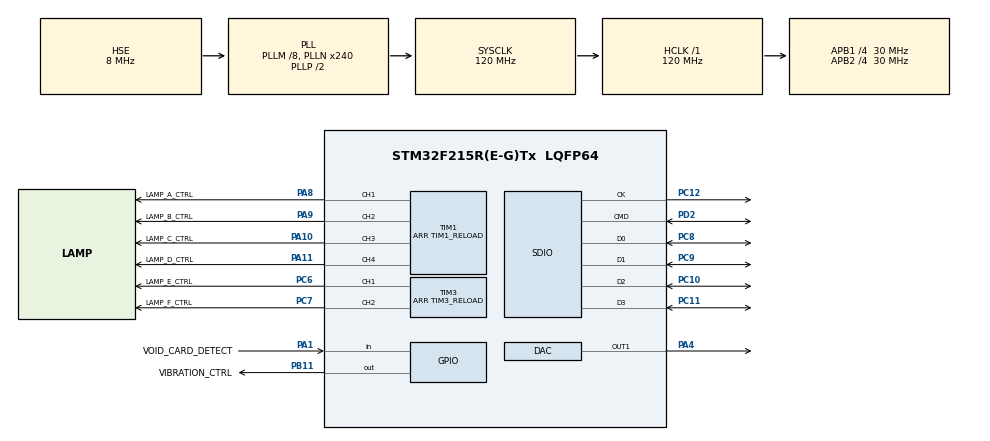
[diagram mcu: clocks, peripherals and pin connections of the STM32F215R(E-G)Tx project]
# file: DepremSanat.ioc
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DAC.DAC_Trigger=DAC_TRIGGER_T6_TRGO
Dma.DAC1.0.Direction=DMA_MEMORY_TO_PERIPH
Dma.DAC1.0.FIFOMode=DMA_FIFOMODE_DISABLE
Dma.DAC1.0.Instance=DMA1_Stream5
Dma.DAC1.0.MemDataAlignment=DMA_MDATAALIGN_HALFWORD
Dma.DAC1.0.MemInc=DMA_MINC_ENABLE
Dma.DAC1.0.Mode=DMA_CIRCULAR
Dma.DAC1.0.PeriphDataAlignment=DMA_PDATAALIGN_HALFWORD
Dma.DAC1.0.PeriphInc=DMA_PINC_DISABLE
Dma.DAC1.0.Priority=DMA_PRIORITY_VERY_HIGH
Dma.Request0=DAC1
FATFS.BSP.number=1
FATFS._FS_LOCK=4
FATFS._MAX_SS=4096
FATFS0.BSP.STBoard=false
FATFS0.BSP.api=Unknown
FATFS0.BSP.i2caddr=0
FATFS0.BSP.instance=PA1
FATFS0.BSP.ip=GPIO
FATFS0.BSP.mode=Input
FATFS0.BSP.name=Detect_SDIO
FATFS0.BSP.solution=PA1
Mcu.Family=STM32F2
Mcu.Name=STM32F215R(E-G)Tx
Mcu.Package=LQFP64
Mcu.UserConstants=POWER_ELEMENTS_SAMPLING_FREQ,64;TIM6_RELOAD,(((TIM6_CLOCK_FREQ/(TIM6_PRESCALER+1))/AUDIO_SAMPLING_FREQ)-1);TIM6_CLOCK_FREQ,60000000;AUDIO_SAMPLING_FREQ,4096;TIM1_RELOAD,(((TIM1_CLOCK_FREQ/(TIM1_PRESCALER+1))/POWER_ELEMENTS_SAMPLING_FREQ)-1);TIM6_PRESCALER,0;TIM1_CLOCK_FREQ,60000000;TIM1_PRESCALER,59;TIM3_CLOCK_FREQ,60000000;TIM3_RELOAD,(((TIM3_CLOCK_FREQ/(TIM3_PRESCALER+1))/POWER_ELEMENTS_SAMPLING_FREQ)-1);TIM3_PRESCALER,59
NVIC.DMA1_Stream5_IRQn=true\:0\:0\:false\:false\:true\:false\:true
NVIC.PriorityGroup=NVIC_PRIORITYGROUP_4
NVIC.SDIO_IRQn=true\:0\:0\:false\:false\:true\:true\:true
NVIC.TIM1_UP_TIM10_IRQn=true\:0\:0\:false\:false\:true\:true\:true
NVIC.TIM6_DAC_IRQn=true\:0\:0\:false\:false\:true\:true\:true
PA1.GPIO_Label=VOID_CARD_DETECT
PA1.GPIO_PuPd=GPIO_PULLDOWN
PA1.Signal=GPIO_Input
PA10.GPIO_Label=LAMP_C_CTRL
PA10.GPIO_ModeDefaultPP=GPIO_MODE_AF_OD
PA10.Signal=S_TIM1_CH3
PA11.GPIO_Label=LAMP_D_CTRL
PA11.GPIO_ModeDefaultPP=GPIO_MODE_AF_OD
PA11.Signal=S_TIM1_CH4
PA13.Mode=Serial_Wire
PA13.Signal=SYS_JTMS-SWDIO
PA14.Mode=Serial_Wire
PA14.Signal=SYS_JTCK-SWCLK
PA4.Signal=COMP_DAC1_group
PA8.GPIO_Label=LAMP_A_CTRL
PA8.GPIO_ModeDefaultPP=GPIO_MODE_AF_OD
PA8.Signal=S_TIM1_CH1
PA9.GPIO_Label=LAMP_B_CTRL
PA9.GPIO_ModeDefaultPP=GPIO_MODE_AF_OD
PA9.Signal=S_TIM1_CH2
PB11.GPIO_Label=VIBRATION_CTRL
PB11.Signal=GPIO_Output
PC10.Mode=SD_4_bits_Wide_bus
PC10.Signal=SDIO_D2
PC11.Mode=SD_4_bits_Wide_bus
PC11.Signal=SDIO_D3
PC12.Mode=SD_4_bits_Wide_bus
PC12.Signal=SDIO_CK
PC6.GPIO_Label=LAMP_E_CTRL
PC6.GPIO_ModeDefaultPP=GPIO_MODE_AF_OD
PC6.Signal=S_TIM3_CH1
PC7.GPIO_Label=LAMP_F_CTRL
PC7.GPIO_ModeDefaultPP=GPIO_MODE_AF_OD
PC7.Signal=S_TIM3_CH2
PC8.Mode=SD_4_bits_Wide_bus
PC8.Signal=SDIO_D0
PC9.Mode=SD_4_bits_Wide_bus
PC9.Signal=SDIO_D1
PD2.Mode=SD_4_bits_Wide_bus
PD2.Signal=SDIO_CMD
PH0-OSC_IN.Mode=HSE-External-Oscillator
PH0-OSC_IN.Signal=RCC_OSC_IN
PH1-OSC_OUT.Mode=HSE-External-Oscillator
PH1-OSC_OUT.Signal=RCC_OSC_OUT
ProjectManager.HeapSize=0x2000
ProjectManager.StackSize=0x4000
ProjectManager.TargetToolchain=Makefile
RCC.48MHZClocksFreq_Value=48000000
RCC.AHBFreq_Value=120000000
RCC.APB1CLKDivider=RCC_HCLK_DIV4
RCC.APB1Freq_Value=30000000
RCC.APB1TimFreq_Value=60000000
RCC.APB2CLKDivider=RCC_HCLK_DIV4
RCC.APB2Freq_Value=30000000
RCC.APB2TimFreq_Value=60000000
RCC.CortexFreq_Value=120000000
RCC.HCLKFreq_Value=120000000
RCC.HSE_VALUE=8000000
RCC.HSI_VALUE=16000000
RCC.LSE_VALUE=32768
RCC.PLLM=8
RCC.PLLN=240
RCC.PLLQ=5
RCC.PLLSourceVirtual=RCC_PLLSOURCE_HSE
RCC.SYSCLKFreq_VALUE=120000000
RCC.SYSCLKSource=RCC_SYSCLKSOURCE_PLLCLK
RCC.VCOOutputFreq_Value=240000000
SDIO.ClockDiv=3
SH.COMP_DAC1_group.0=DAC_OUT1,DAC_OUT1
SH.S_TIM1_CH1.0=TIM1_CH1,PWM Generation1 CH1
SH.S_TIM1_CH2.0=TIM1_CH2,PWM Generation2 CH2
SH.S_TIM1_CH3.0=TIM1_CH3,PWM Generation3 CH3
SH.S_TIM1_CH4.0=TIM1_CH4,PWM Generation4 CH4
SH.S_TIM3_CH1.0=TIM3_CH1,PWM Generation1 CH1
SH.S_TIM3_CH2.0=TIM3_CH2,PWM Generation2 CH2
TIM1.Channel-PWM\ Generation1\ CH1=TIM_CHANNEL_1
TIM1.Channel-PWM\ Generation2\ CH2=TIM_CHANNEL_2
TIM1.Channel-PWM\ Generation3\ CH3=TIM_CHANNEL_3
TIM1.Channel-PWM\ Generation4\ CH4=TIM_CHANNEL_4
TIM1.Period=TIM1_RELOAD
TIM1.Prescaler=TIM1_PRESCALER
TIM1.Pulse-PWM\ Generation3\ CH3=1
TIM1.Pulse-PWM\ Generation4\ CH4=1
TIM1.TIM_MasterOutputTrigger=TIM_TRGO_ENABLE
TIM3.Channel-PWM\ Generation1\ CH1=TIM_CHANNEL_1
TIM3.Channel-PWM\ Generation2\ CH2=TIM_CHANNEL_2
TIM3.Period=TIM3_RELOAD
TIM3.Prescaler=TIM3_PRESCALER
TIM3.Pulse-PWM\ Generation1\ CH1=1
TIM3.Pulse-PWM\ Generation2\ CH2=1
TIM6.Period=TIM6_RELOAD
TIM6.Prescaler=TIM6_PRESCALER
TIM6.TIM_MasterOutputTrigger=TIM_TRGO_UPDATE
VP_FATFS_VS_SDIO.Mode=SDIO
VP_TIM1_VS_ClockSourceINT.Mode=Internal
VP_TIM3_VS_ClockSourceINT.Mode=Internal
VP_TIM3_VS_ClockSourceITR.Mode=TriggerSource_ITR0
VP_TIM3_VS_ControllerModeGated.Mode=Gated Mode
VP_TIM6_VS_ClockSourceINT.Mode=Enable_Timer
board=custom

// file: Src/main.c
/* USER CODE BEGIN Header */
/**
  ******************************************************************************
  * @file           : main.c
  * @brief          : Main program body
  ******************************************************************************
  * @attention
  *
  * <h2><center>&copy; Copyright (c) 2021 STMicroelectronics.
  * All rights reserved.</center></h2>
  *
  * This software component is licensed by ST under Ultimate Liberty license
  * SLA0044, the "License"; You may not use this file except in compliance with
  * the License. You may obtain a copy of the License at:
  *                             www.st.com/SLA0044
  *
  ******************************************************************************
  */
/* USER CODE END Header */
#include "main.h"
#include "fatfs.h"

/* USER CODE BEGIN Includes */
#include "global.h"
/* USER CODE END Includes */

/* USER CODE BEGIN PD */
#define AUDIO_CACHE_SIZE 4096
#define POWER_CTRL_CACHE_SIZE 512
#define POWER_CTRL_CHANNELS 8
/* USER CODE END PD */

DAC_HandleTypeDef hdac;
DMA_HandleTypeDef hdma_dac1;

SD_HandleTypeDef hsd;

TIM_HandleTypeDef htim1;
TIM_HandleTypeDef htim3;
TIM_HandleTypeDef htim6;

/* USER CODE BEGIN PV */
static FATFS fatFsObj;
static FIL audioFile;
static FIL powerCtrlFile;

uint8_t AudioDoubleBuffer[AUDIO_CACHE_SIZE * 2];
uint8_t PowerCtrlDoubleBuffer[POWER_CTRL_CACHE_SIZE * 2];

volatile Bool_t ToggleAudioCache = 0;
volatile uint8_t AudioCacheIdx = 0;
volatile Bool_t TogglePowerCtrlCache = 0;
volatile uint8_t PowerCtrlCacheIdx = 0;
volatile uint16_t PowerCtrlTransferCnt = 0;
/* USER CODE END PV */

void SystemClock_Config(void);
static void MX_GPIO_Init(void);
static void MX_DAC_Init(void);
static void MX_SDIO_SD_Init(void);
static void MX_TIM1_Init(void);
static void MX_DMA_Init(void);
static void MX_TIM6_Init(void);
static void MX_TIM3_Init(void);

int main(void)
{

  /* MCU Configuration--------------------------------------------------------*/

  /* Reset of all peripherals, Initializes the Flash interface and the Systick. */
  HAL_Init();

  /* Configure the system clock */
  SystemClock_Config();

  /* Initialize all configured peripherals */
  MX_GPIO_Init();
  MX_DAC_Init();
  MX_SDIO_SD_Init();
  MX_TIM1_Init();
  MX_FATFS_Init();
  MX_DMA_Init();
  MX_TIM6_Init();
  MX_TIM3_Init();
  /* USER CODE BEGIN 2 */
  // Startup delay for the system to be stabilized.
  HAL_Delay(250);

  // Mount file system.
  if (f_mount(&fatFsObj, SDPath, 1) != FR_OK)
  {
    while (1)
      ;
  }

  char fname1[] = "audio.bin";
  if (f_open(&audioFile, fname1, FA_READ) != FR_OK)
  {
    while (1)
      ;
  }

  char fname2[] = "power.bin";
  if (f_open(&powerCtrlFile, fname2, FA_READ) != FR_OK)
  {
    while (1)
      ;
  }

  /* USER CODE END 2 */

  /* Infinite loop */
  /* USER CODE BEGIN WHILE */
  UINT __unused;
  if (f_read(&audioFile, AudioDoubleBuffer, AUDIO_CACHE_SIZE, &__unused) != FR_OK)
  {
    while (1)
      ;
  }

  if (f_read(&powerCtrlFile, PowerCtrlDoubleBuffer, POWER_CTRL_CACHE_SIZE, &__unused) != FR_OK)
  {
    while (1)
      ;
  }

  // Start PWM channels.
  if (HAL_TIM_PWM_Start(&htim3, TIM_CHANNEL_1) != HAL_OK)
  {
    while(1);
  }
  if (HAL_TIM_PWM_Start(&htim3, TIM_CHANNEL_2) != HAL_OK)
  {
    while(1);
  }

  if (HAL_TIM_PWM_Start(&htim1, TIM_CHANNEL_1) != HAL_OK)
  {
    while(1);
  }

  if (HAL_TIM_PWM_Start(&htim1, TIM_CHANNEL_2) != HAL_OK)
  {
    while(1);
  }

  if (HAL_TIM_PWM_Start(&htim1, TIM_CHANNEL_3) != HAL_OK)
  {
    while(1);
  }

  if (HAL_TIM_PWM_Start(&htim1, TIM_CHANNEL_4) != HAL_OK)
  {
    while(1);
  }

  if (HAL_TIM_Base_Start_IT(&htim1) != HAL_OK)
  {
    while(1);
  }

  // Start audio file timebase.
  if (HAL_TIM_Base_Start(&htim6) != HAL_OK)
  {
    while (1)
      ;
  }

  if (HAL_DAC_Start_DMA(&hdac, DAC_CHANNEL_1, (uint32_t *)AudioDoubleBuffer, ((2 * AUDIO_CACHE_SIZE) / sizeof(uint16_t)),
                        DAC_ALIGN_12B_R) != HAL_OK)
  {
    while (1)
      ;
  }

  PowerCtrlTransferCnt = ((POWER_CTRL_CACHE_SIZE) / POWER_CTRL_CHANNELS);
  ToggleAudioCache = 1;
  TogglePowerCtrlCache = 1;
  AudioCacheIdx = 1;
  PowerCtrlCacheIdx = 1;

  while (1)
  {
    /* USER CODE END WHILE */

    /* USER CODE BEGIN 3 */
    // Read audio file.
    if (ToggleAudioCache)
    {
      Bool_t success = TRUE;
      UINT read_bytes;

      if (f_read(&audioFile, &AudioDoubleBuffer[AudioCacheIdx * AUDIO_CACHE_SIZE], AUDIO_CACHE_SIZE, &read_bytes) != FR_OK)
      {
        success = FALSE;
      }

      if (success && (read_bytes < AUDIO_CACHE_SIZE))
      {
        // Restart file pointer.
        f_rewind(&audioFile);

        // Read the leftovers.
        if (f_read(&audioFile, &AudioDoubleBuffer[AudioCacheIdx * AUDIO_CACHE_SIZE + read_bytes],
                   (AUDIO_CACHE_SIZE - read_bytes), &read_bytes) != FR_OK)
        {
          success = FALSE;
        }
      }

      if (success)
      {
        ToggleAudioCache = FALSE;
        AudioCacheIdx = (AudioCacheIdx + 1) & 0x01;
      }
    }

    // Read power ctrl file.
    if (TogglePowerCtrlCache)
    {
      Bool_t success = TRUE;
      UINT read_bytes;

      if (f_read(&powerCtrlFile, &PowerCtrlDoubleBuffer[PowerCtrlCacheIdx * POWER_CTRL_CACHE_SIZE], POWER_CTRL_CACHE_SIZE,
                 &read_bytes) != FR_OK)
      {
        success = FALSE;
      }

      if (success && (read_bytes < POWER_CTRL_CACHE_SIZE))
      {
        // Restart file pointer.
        f_rewind(&powerCtrlFile);

        // Read the leftovers.
        if (f_read(&powerCtrlFile, &PowerCtrlDoubleBuffer[PowerCtrlCacheIdx * POWER_CTRL_CACHE_SIZE + read_bytes],
                   (POWER_CTRL_CACHE_SIZE - read_bytes), &read_bytes) != FR_OK)
        {
          success = FALSE;
        }
      }

      // If succeeded,
      if (success)
      {
        TogglePowerCtrlCache = FALSE;
        PowerCtrlCacheIdx = (PowerCtrlCacheIdx + 1) & 0x01;
      }
    }
  }

  /* USER CODE END 3 */
}

void SystemClock_Config(void)
{
  RCC_OscInitTypeDef RCC_OscInitStruct = {0};
  RCC_ClkInitTypeDef RCC_ClkInitStruct = {0};

  /** Initializes the RCC Oscillators according to the specified parameters
  * in the RCC_OscInitTypeDef structure.
  */
  RCC_OscInitStruct.OscillatorType = RCC_OSCILLATORTYPE_HSE;
  RCC_OscInitStruct.HSEState = RCC_HSE_ON;
  RCC_OscInitStruct.PLL.PLLState = RCC_PLL_ON;
  RCC_OscInitStruct.PLL.PLLSource = RCC_PLLSOURCE_HSE;
  RCC_OscInitStruct.PLL.PLLM = 8;
  RCC_OscInitStruct.PLL.PLLN = 240;
  RCC_OscInitStruct.PLL.PLLP = RCC_PLLP_DIV2;
  RCC_OscInitStruct.PLL.PLLQ = 5;
  if (HAL_RCC_OscConfig(&RCC_OscInitStruct) != HAL_OK)
  {
    Error_Handler();
  }
  /** Initializes the CPU, AHB and APB buses clocks
  */
  RCC_ClkInitStruct.ClockType = RCC_CLOCKTYPE_HCLK|RCC_CLOCKTYPE_SYSCLK
                              |RCC_CLOCKTYPE_PCLK1|RCC_CLOCKTYPE_PCLK2;
  RCC_ClkInitStruct.SYSCLKSource = RCC_SYSCLKSOURCE_PLLCLK;
  RCC_ClkInitStruct.AHBCLKDivider = RCC_SYSCLK_DIV1;
  RCC_ClkInitStruct.APB1CLKDivider = RCC_HCLK_DIV4;
  RCC_ClkInitStruct.APB2CLKDivider = RCC_HCLK_DIV4;

  if (HAL_RCC_ClockConfig(&RCC_ClkInitStruct, FLASH_LATENCY_3) != HAL_OK)
  {
    Error_Handler();
  }
}

static void MX_DAC_Init(void)
{

  DAC_ChannelConfTypeDef sConfig = {0};

  /** DAC Initialization
  */
  hdac.Instance = DAC;
  if (HAL_DAC_Init(&hdac) != HAL_OK)
  {
    Error_Handler();
  }
  /** DAC channel OUT1 config
  */
  sConfig.DAC_Trigger = DAC_TRIGGER_T6_TRGO;
  sConfig.DAC_OutputBuffer = DAC_OUTPUTBUFFER_ENABLE;
  if (HAL_DAC_ConfigChannel(&hdac, &sConfig, DAC_CHANNEL_1) != HAL_OK)
  {
    Error_Handler();
  }

}

static void MX_SDIO_SD_Init(void)
{

  hsd.Instance = SDIO;
  hsd.Init.ClockEdge = SDIO_CLOCK_EDGE_RISING;
  hsd.Init.ClockBypass = SDIO_CLOCK_BYPASS_DISABLE;
  hsd.Init.ClockPowerSave = SDIO_CLOCK_POWER_SAVE_DISABLE;
  hsd.Init.BusWide = SDIO_BUS_WIDE_1B;
  hsd.Init.HardwareFlowControl = SDIO_HARDWARE_FLOW_CONTROL_DISABLE;
  hsd.Init.ClockDiv = 3;

}

static void MX_TIM1_Init(void)
{

  TIM_ClockConfigTypeDef sClockSourceConfig = {0};
  TIM_MasterConfigTypeDef sMasterConfig = {0};
  TIM_OC_InitTypeDef sConfigOC = {0};
  TIM_BreakDeadTimeConfigTypeDef sBreakDeadTimeConfig = {0};

  htim1.Instance = TIM1;
  htim1.Init.Prescaler = TIM1_PRESCALER;
  htim1.Init.CounterMode = TIM_COUNTERMODE_UP;
  htim1.Init.Period = TIM1_RELOAD;
  htim1.Init.ClockDivision = TIM_CLOCKDIVISION_DIV1;
  htim1.Init.RepetitionCounter = 0;
  htim1.Init.AutoReloadPreload = TIM_AUTORELOAD_PRELOAD_DISABLE;
  if (HAL_TIM_Base_Init(&htim1) != HAL_OK)
  {
    Error_Handler();
  }
  sClockSourceConfig.ClockSource = TIM_CLOCKSOURCE_INTERNAL;
  if (HAL_TIM_ConfigClockSource(&htim1, &sClockSourceConfig) != HAL_OK)
  {
    Error_Handler();
  }
  if (HAL_TIM_PWM_Init(&htim1) != HAL_OK)
  {
    Error_Handler();
  }
  sMasterConfig.MasterOutputTrigger = TIM_TRGO_ENABLE;
  sMasterConfig.MasterSlaveMode = TIM_MASTERSLAVEMODE_DISABLE;
  if (HAL_TIMEx_MasterConfigSynchronization(&htim1, &sMasterConfig) != HAL_OK)
  {
    Error_Handler();
  }
  sConfigOC.OCMode = TIM_OCMODE_PWM1;
  sConfigOC.Pulse = 0;
  sConfigOC.OCPolarity = TIM_OCPOLARITY_HIGH;
  sConfigOC.OCNPolarity = TIM_OCNPOLARITY_HIGH;
  sConfigOC.OCFastMode = TIM_OCFAST_DISABLE;
  sConfigOC.OCIdleState = TIM_OCIDLESTATE_RESET;
  sConfigOC.OCNIdleState = TIM_OCNIDLESTATE_RESET;
  if (HAL_TIM_PWM_ConfigChannel(&htim1, &sConfigOC, TIM_CHANNEL_1) != HAL_OK)
  {
    Error_Handler();
  }
  if (HAL_TIM_PWM_ConfigChannel(&htim1, &sConfigOC, TIM_CHANNEL_2) != HAL_OK)
  {
    Error_Handler();
  }
  sConfigOC.Pulse = 1;
  if (HAL_TIM_PWM_ConfigChannel(&htim1, &sConfigOC, TIM_CHANNEL_3) != HAL_OK)
  {
    Error_Handler();
  }
  if (HAL_TIM_PWM_ConfigChannel(&htim1, &sConfigOC, TIM_CHANNEL_4) != HAL_OK)
  {
    Error_Handler();
  }
  sBreakDeadTimeConfig.OffStateRunMode = TIM_OSSR_DISABLE;
  sBreakDeadTimeConfig.OffStateIDLEMode = TIM_OSSI_DISABLE;
  sBreakDeadTimeConfig.LockLevel = TIM_LOCKLEVEL_OFF;
  sBreakDeadTimeConfig.DeadTime = 0;
  sBreakDeadTimeConfig.BreakState = TIM_BREAK_DISABLE;
  sBreakDeadTimeConfig.BreakPolarity = TIM_BREAKPOLARITY_HIGH;
  sBreakDeadTimeConfig.AutomaticOutput = TIM_AUTOMATICOUTPUT_DISABLE;
  if (HAL_TIMEx_ConfigBreakDeadTime(&htim1, &sBreakDeadTimeConfig) != HAL_OK)
  {
    Error_Handler();
  }
  HAL_TIM_MspPostInit(&htim1);

}

static void MX_TIM3_Init(void)
{

  TIM_ClockConfigTypeDef sClockSourceConfig = {0};
  TIM_SlaveConfigTypeDef sSlaveConfig = {0};
  TIM_MasterConfigTypeDef sMasterConfig = {0};
  TIM_OC_InitTypeDef sConfigOC = {0};

  htim3.Instance = TIM3;
  htim3.Init.Prescaler = TIM3_PRESCALER;
  htim3.Init.CounterMode = TIM_COUNTERMODE_UP;
  htim3.Init.Period = TIM3_RELOAD;
  htim3.Init.ClockDivision = TIM_CLOCKDIVISION_DIV1;
  htim3.Init.AutoReloadPreload = TIM_AUTORELOAD_PRELOAD_DISABLE;
  if (HAL_TIM_Base_Init(&htim3) != HAL_OK)
  {
    Error_Handler();
  }
  sClockSourceConfig.ClockSource = TIM_CLOCKSOURCE_INTERNAL;
  if (HAL_TIM_ConfigClockSource(&htim3, &sClockSourceConfig) != HAL_OK)
  {
    Error_Handler();
  }
  if (HAL_TIM_PWM_Init(&htim3) != HAL_OK)
  {
    Error_Handler();
  }
  sSlaveConfig.SlaveMode = TIM_SLAVEMODE_GATED;
  sSlaveConfig.InputTrigger = TIM_TS_ITR0;
  if (HAL_TIM_SlaveConfigSynchro(&htim3, &sSlaveConfig) != HAL_OK)
  {
    Error_Handler();
  }
  sMasterConfig.MasterOutputTrigger = TIM_TRGO_RESET;
  sMasterConfig.MasterSlaveMode = TIM_MASTERSLAVEMODE_DISABLE;
  if (HAL_TIMEx_MasterConfigSynchronization(&htim3, &sMasterConfig) != HAL_OK)
  {
    Error_Handler();
  }
  sConfigOC.OCMode = TIM_OCMODE_PWM1;
  sConfigOC.Pulse = 1;
  sConfigOC.OCPolarity = TIM_OCPOLARITY_HIGH;
  sConfigOC.OCFastMode = TIM_OCFAST_DISABLE;
  if (HAL_TIM_PWM_ConfigChannel(&htim3, &sConfigOC, TIM_CHANNEL_1) != HAL_OK)
  {
    Error_Handler();
  }
  if (HAL_TIM_PWM_ConfigChannel(&htim3, &sConfigOC, TIM_CHANNEL_2) != HAL_OK)
  {
    Error_Handler();
  }
  HAL_TIM_MspPostInit(&htim3);

}

static void MX_TIM6_Init(void)
{

  TIM_MasterConfigTypeDef sMasterConfig = {0};

  htim6.Instance = TIM6;
  htim6.Init.Prescaler = TIM6_PRESCALER;
  htim6.Init.CounterMode = TIM_COUNTERMODE_UP;
  htim6.Init.Period = TIM6_RELOAD;
  htim6.Init.AutoReloadPreload = TIM_AUTORELOAD_PRELOAD_DISABLE;
  if (HAL_TIM_Base_Init(&htim6) != HAL_OK)
  {
    Error_Handler();
  }
  sMasterConfig.MasterOutputTrigger = TIM_TRGO_UPDATE;
  sMasterConfig.MasterSlaveMode = TIM_MASTERSLAVEMODE_DISABLE;
  if (HAL_TIMEx_MasterConfigSynchronization(&htim6, &sMasterConfig) != HAL_OK)
  {
    Error_Handler();
  }

}

static void MX_DMA_Init(void)
{

  /* DMA controller clock enable */
  __HAL_RCC_DMA1_CLK_ENABLE();

  /* DMA interrupt init */
  /* DMA1_Stream5_IRQn interrupt configuration */
  HAL_NVIC_SetPriority(DMA1_Stream5_IRQn, 0, 0);
  HAL_NVIC_EnableIRQ(DMA1_Stream5_IRQn);

}

static void MX_GPIO_Init(void)
{
  GPIO_InitTypeDef GPIO_InitStruct = {0};

  /* GPIO Ports Clock Enable */
  __HAL_RCC_GPIOH_CLK_ENABLE();
  __HAL_RCC_GPIOA_CLK_ENABLE();
  __HAL_RCC_GPIOB_CLK_ENABLE();
  __HAL_RCC_GPIOC_CLK_ENABLE();
  __HAL_RCC_GPIOD_CLK_ENABLE();

  /*Configure GPIO pin Output Level */
  HAL_GPIO_WritePin(VIBRATION_CTRL_GPIO_Port, VIBRATION_CTRL_Pin, GPIO_PIN_RESET);

  /*Configure GPIO pin : VOID_CARD_DETECT_Pin */
  GPIO_InitStruct.Pin = VOID_CARD_DETECT_Pin;
  GPIO_InitStruct.Mode = GPIO_MODE_INPUT;
  GPIO_InitStruct.Pull = GPIO_PULLDOWN;
  HAL_GPIO_Init(VOID_CARD_DETECT_GPIO_Port, &GPIO_InitStruct);

  /*Configure GPIO pin : VIBRATION_CTRL_Pin */
  GPIO_InitStruct.Pin = VIBRATION_CTRL_Pin;
  GPIO_InitStruct.Mode = GPIO_MODE_OUTPUT_PP;
  GPIO_InitStruct.Pull = GPIO_NOPULL;
  GPIO_InitStruct.Speed = GPIO_SPEED_FREQ_LOW;
  HAL_GPIO_Init(VIBRATION_CTRL_GPIO_Port, &GPIO_InitStruct);

}

/* USER CODE BEGIN 4 */
void HAL_DAC_ConvHalfCpltCallbackCh1(DAC_HandleTypeDef *__hdac)
{
  if (__hdac == &hdac)
  {
    ToggleAudioCache = TRUE;
  }
}

void HAL_DAC_ConvCpltCallbackCh1(DAC_HandleTypeDef *__hdac)
{
  if (__hdac == &hdac)
  {
    ToggleAudioCache = TRUE;
  }
}

void HAL_TIM_PeriodElapsedCallback(TIM_HandleTypeDef *__htim)
{
  if (__htim == &htim1)
  {
    if (PowerCtrlTransferCnt == ((POWER_CTRL_CACHE_SIZE) / POWER_CTRL_CHANNELS))
    {
      TogglePowerCtrlCache = TRUE;
    }

    if (PowerCtrlTransferCnt >= ((2 * POWER_CTRL_CACHE_SIZE) / POWER_CTRL_CHANNELS))
    {
      TogglePowerCtrlCache = TRUE;
      PowerCtrlTransferCnt = 0;
    }

    // Parse and set compare values.
    uint16_t comp1, comp2, comp3, comp4, comp5, comp6;
    Bool_t vib;
    comp1 = ((uint32_t)PowerCtrlDoubleBuffer[PowerCtrlTransferCnt * POWER_CTRL_CHANNELS] * TIM1_RELOAD) >> 8;
    comp2 = ((uint32_t)PowerCtrlDoubleBuffer[PowerCtrlTransferCnt * POWER_CTRL_CHANNELS + 1] * TIM1_RELOAD) >> 8;
    comp3 = ((uint32_t)PowerCtrlDoubleBuffer[PowerCtrlTransferCnt * POWER_CTRL_CHANNELS + 2] * TIM1_RELOAD) >> 8;
    comp4 = ((uint32_t)PowerCtrlDoubleBuffer[PowerCtrlTransferCnt * POWER_CTRL_CHANNELS + 3] * TIM1_RELOAD) >> 8;
    comp5 = ((uint32_t)PowerCtrlDoubleBuffer[PowerCtrlTransferCnt * POWER_CTRL_CHANNELS + 4] * TIM3_RELOAD) >> 8;
    comp6 = ((uint32_t)PowerCtrlDoubleBuffer[PowerCtrlTransferCnt * POWER_CTRL_CHANNELS + 5] * TIM3_RELOAD) >> 8;

    vib = PowerCtrlDoubleBuffer[PowerCtrlTransferCnt * POWER_CTRL_CHANNELS + 6] != 0 ? TRUE:FALSE;

    __HAL_TIM_SET_COMPARE(&htim1, TIM_CHANNEL_1, comp1);
    __HAL_TIM_SET_COMPARE(&htim1, TIM_CHANNEL_2, comp2);
    __HAL_TIM_SET_COMPARE(&htim1, TIM_CHANNEL_3, comp3);
    __HAL_TIM_SET_COMPARE(&htim1, TIM_CHANNEL_4, comp4);
    __HAL_TIM_SET_COMPARE(&htim3, TIM_CHANNEL_1, comp5);
    __HAL_TIM_SET_COMPARE(&htim3, TIM_CHANNEL_2, comp6);

    if (vib)
    {
      HAL_GPIO_WritePin(VIBRATION_CTRL_GPIO_Port, VIBRATION_CTRL_Pin, GPIO_PIN_SET);
    }
    else
    {
      HAL_GPIO_WritePin(VIBRATION_CTRL_GPIO_Port, VIBRATION_CTRL_Pin, GPIO_PIN_RESET);
    }

    PowerCtrlTransferCnt++;
  }
}
/* USER CODE END 4 */

void Error_Handler(void)
{
  __disable_irq();
  while (1)
  {
  }
}

/************************ (C) COPYRIGHT STMicroelectronics *****END OF FILE****/
